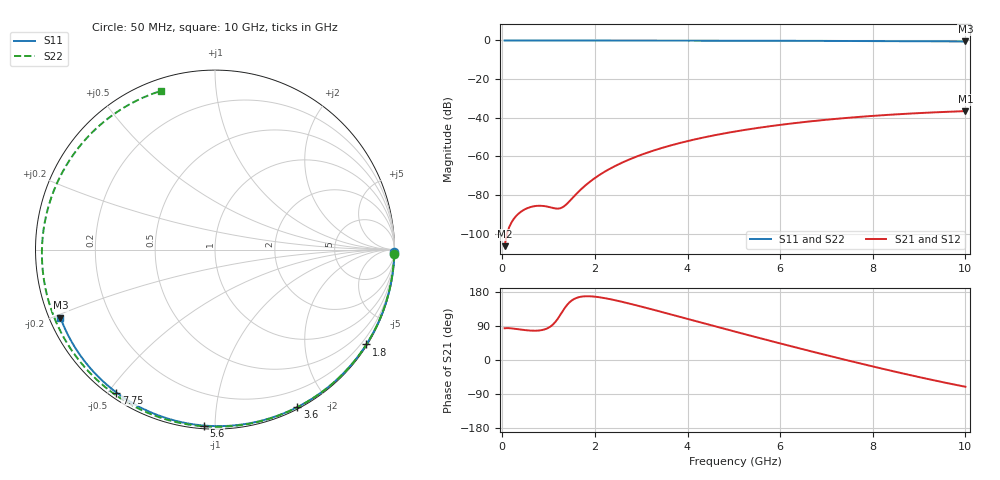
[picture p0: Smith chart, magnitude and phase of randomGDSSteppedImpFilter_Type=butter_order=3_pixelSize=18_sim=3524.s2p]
! freq	dB(S11)	phase(S11)	dB(S12)	phase(S12)
!  dB(S21)	phase(S21)	dB(S22)	phase(S22)
!S-par simulation data
#  GHz  S  DB  R 50
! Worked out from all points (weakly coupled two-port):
!   200 points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, 50 MHz to 10 GHz, reference 50 ohm
!   highest |S21| = -36.56 dB at 10 GHz (marker M1); lowest = -106.4 dB at 50 MHz (marker M2)
!   lowest |S11| = -0.5 dB at 10 GHz (marker M3), VSWR 32.97, Z = 1.58 - j10.5 ohm
!   |S11| at or under -10 dB: nowhere
!   |S22| runs from -0.6 to 0.0 dB; largest |S21 - S12| = 0
!   S11 on the Smith chart (normalised r, x): 50 MHz: open; 1.8 GHz: 0.03, -3.48; 3.6 GHz: 0.02, -1.65; 5.6 GHz: 0.02, -0.94; 7.75 GHz: 0.02, -0.52; 10 GHz: 0.03, -0.21
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0.05  -0.00 -0.9  -106.44 83.8  -106.44 83.8  -0.01 -1.5
0.4  -0.01 -7.2  -88.67 80.2  -88.67 80.2  -0.02 -12.6
0.75  -0.02 -13.5  -85.58 77.4  -85.58 77.4  -0.03 -23.6
1.55  -0.04 -27.7  -80.65 160.9  -80.65 160.9  -0.06 -48.0
1.6  -0.04 -28.6  -79.40 163.7  -79.40 163.7  -0.06 -49.4
1.75  -0.04 -31.2  -75.93 167.8  -75.93 167.8  -0.07 -53.8
1.8  -0.04 -32.1  -74.89 168.2  -74.89 168.2  -0.07 -55.3
2.1  -0.05 -37.3  -69.56 165.5  -69.56 165.5  -0.08 -63.9
2.45  -0.06 -43.3  -64.80 157.4  -64.80 157.4  -0.09 -73.7
2.9  -0.07 -50.9  -60.07 144.1  -60.07 144.1  -0.11 -85.9
3.4  -0.08 -59.2  -55.96 128.2  -55.96 128.2  -0.12 -98.8
3.6  -0.08 -62.4  -54.56 121.6  -54.56 121.6  -0.13 -103.9
4.3  -0.10 -73.6  -50.44 98.6  -50.44 98.6  -0.16 -120.8
5.05  -0.13 -85.3  -47.02 74.1  -47.02 74.1  -0.19 -138.2
5.6  -0.16 -93.6  -44.97 56.4  -44.97 56.4  -0.23 -150.4
6.15  -0.18 -101.7  -43.23 39.0  -43.23 39.0  -0.26 -162.5
6.7  -0.21 -109.7  -41.74 21.9  -41.74 21.9  -0.30 -174.5
7.25  -0.25 -117.5  -40.47 5.2  -40.47 5.2  -0.34 173.4
7.75  -0.29 -124.6  -39.47 -9.7  -39.47 -9.7  -0.38 162.4
8.35  -0.34 -133.0  -38.47 -27.1  -38.47 -27.1  -0.43 148.8
9.25  -0.44 -145.6  -37.29 -51.8  -37.29 -51.8  -0.52 127.5
10  -0.53 -156.2  -36.56 -70.6  -36.56 -70.6  -0.59 108.8
